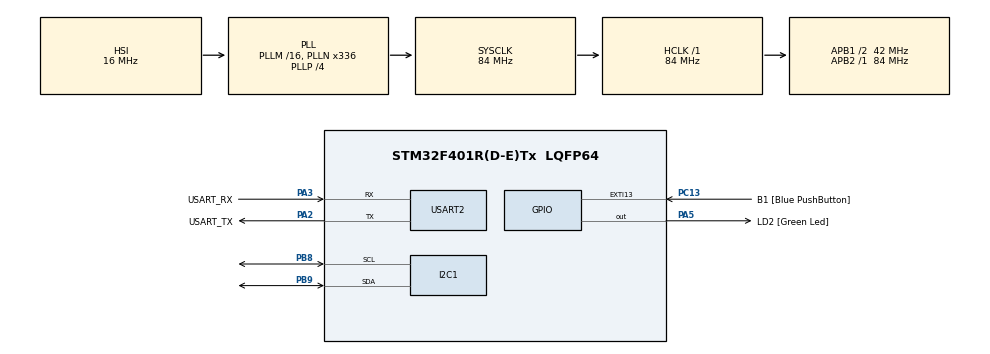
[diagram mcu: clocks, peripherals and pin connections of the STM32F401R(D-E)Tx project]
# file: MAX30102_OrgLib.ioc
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I2C1.I2C_Mode=I2C_Standard
Mcu.Family=STM32F4
Mcu.Name=STM32F401R(D-E)Tx
Mcu.Package=LQFP64
NVIC.PriorityGroup=NVIC_PRIORITYGROUP_0
PA13.GPIO_Label=TMS
PA13.Mode=Serial_Wire
PA13.Signal=SYS_JTMS-SWDIO
PA14.GPIO_Label=TCK
PA14.Mode=Serial_Wire
PA14.Signal=SYS_JTCK-SWCLK
PA2.GPIO_Label=USART_TX
PA2.GPIO_Mode=GPIO_MODE_AF_PP
PA2.GPIO_PuPd=GPIO_NOPULL
PA2.GPIO_Speed=GPIO_SPEED_FREQ_LOW
PA2.Mode=Asynchronous
PA2.Signal=USART2_TX
PA3.GPIO_Label=USART_RX
PA3.GPIO_Mode=GPIO_MODE_AF_PP
PA3.GPIO_PuPd=GPIO_NOPULL
PA3.GPIO_Speed=GPIO_SPEED_FREQ_LOW
PA3.Mode=Asynchronous
PA3.Signal=USART2_RX
PA5.GPIO_Label=LD2 [Green Led]
PA5.GPIO_Mode=GPIO_MODE_OUTPUT_PP
PA5.GPIO_PuPd=GPIO_NOPULL
PA5.GPIO_Speed=GPIO_SPEED_FREQ_LOW
PA5.Signal=GPIO_Output
PB3.GPIO_Label=SWO
PB3.Signal=SYS_JTDO-SWO
PB8.GPIO_Pu=GPIO_PULLUP
PB8.Mode=I2C
PB8.Signal=I2C1_SCL
PB9.GPIO_Pu=GPIO_PULLUP
PB9.Mode=I2C
PB9.Signal=I2C1_SDA
PC13-ANTI_TAMP.GPIO_Label=B1 [Blue PushButton]
PC13-ANTI_TAMP.GPIO_ModeDefaultEXTI=GPIO_MODE_IT_FALLING
PC13-ANTI_TAMP.GPIO_PuPd=GPIO_NOPULL
PC13-ANTI_TAMP.Signal=GPXTI13
PC14-OSC32_IN.Mode=LSE-External-Oscillator
PC14-OSC32_IN.Signal=RCC_OSC32_IN
PC15-OSC32_OUT.Mode=LSE-External-Oscillator
PC15-OSC32_OUT.Signal=RCC_OSC32_OUT
PH0\ -\ OSC_IN.Mode=HSE-External-Clock-Source
PH0\ -\ OSC_IN.Signal=RCC_OSC_IN
PH1\ -\ OSC_OUT.Mode=HSE-External-Clock-Source
PH1\ -\ OSC_OUT.Signal=RCC_OSC_OUT
ProjectManager.HeapSize=0x200
ProjectManager.StackSize=0x400
ProjectManager.TargetToolchain=STM32CubeIDE
RCC.48MHZClocksFreq_Value=48000000
RCC.AHBFreq_Value=84000000
RCC.APB1CLKDivider=RCC_HCLK_DIV2
RCC.APB1Freq_Value=42000000
RCC.APB1TimFreq_Value=84000000
RCC.APB2Freq_Value=84000000
RCC.APB2TimFreq_Value=84000000
RCC.CortexFreq_Value=84000000
RCC.HCLKFreq_Value=84000000
RCC.HSE_VALUE=8000000
RCC.HSI_VALUE=16000000
RCC.PLLN=336
RCC.PLLP=RCC_PLLP_DIV4
RCC.PLLQ=7
RCC.SYSCLKFreq_VALUE=84000000
RCC.SYSCLKSource=RCC_SYSCLKSOURCE_PLLCLK
RCC.VCOOutputFreq_Value=336000000
USART2.VirtualMode=VM_ASYNC
board=NUCLEO-F401RE

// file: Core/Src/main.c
/* USER CODE BEGIN Header */
/**
 ******************************************************************************
 * @file           : main.c
 * @brief          : Main program body
 ******************************************************************************
 * @attention
 *
 * Copyright (c) 2023 STMicroelectronics.
 * All rights reserved.
 *
 * This software is licensed under terms that can be found in the LICENSE file
 * in the root directory of this software component.
 * If no LICENSE file comes with this software, it is provided AS-IS.
 *
 ******************************************************************************
 */
/* USER CODE END Header */
#include "main.h"

/* USER CODE BEGIN Includes */
#include "BML_DEF.h"
#include "uart.h"
#include "MAX30102_n.h"
/* USER CODE END Includes */

/* USER CODE BEGIN PD */
#define DEBUG	0
/* USER CODE END PD */

I2C_HandleTypeDef hi2c1;

UART_HandleTypeDef huart2;

/* USER CODE BEGIN PV */

HAL_StatusTypeDef ret;

max30102_t max30102;
/* USER CODE END PV */

void SystemClock_Config(void);
static void MX_GPIO_Init(void);
static void MX_USART2_UART_Init(void);
static void MX_I2C1_Init(void);
/* USER CODE BEGIN PFP */
void max30102_startSeq();
/* USER CODE END PFP */

int main(void)
{

  /* MCU Configuration--------------------------------------------------------*/

  /* Reset of all peripherals, Initializes the Flash interface and the Systick. */
  HAL_Init();

  /* Configure the system clock */
  SystemClock_Config();

  /* Initialize all configured peripherals */
  MX_GPIO_Init();
  MX_USART2_UART_Init();
  MX_I2C1_Init();
  /* USER CODE BEGIN 2 */
	uart_print_config(9600);
	print("Working\n\r");

	max30102_init(&max30102, &hi2c1);
	max30102_reset(&max30102);
	max30102_clear_fifo(&max30102);
	max30102_set_fifo_config(&max30102, max30102_smp_ave_8, 1, 7);

	// Sensor settings
	max30102_set_led_pulse_width(&max30102, max30102_pw_16_bit);
	max30102_set_adc_resolution(&max30102, max30102_adc_8192);
	max30102_set_sampling_rate(&max30102, max30102_sr_800);
	max30102_set_led_current_1(&max30102, 5);
	max30102_set_led_current_2(&max30102, 5);

	// Enter SpO2 mode
	max30102_set_mode(&max30102, max30102_spo2);
//	max30102_set_a_full(&max30102, 1);

	// Initiate 1 temperature measurement
	max30102_set_die_temp_en(&max30102, 1);
	max30102_set_die_temp_rdy(&max30102, 1);

	uint8_t en_reg[2] = { 0 };
	max30102_read(&max30102, 0x00, en_reg, 1);

  /* USER CODE END 2 */

  /* Infinite loop */
  /* USER CODE BEGIN WHILE */
	while (1) {

		max30102_update(&max30102);

    /* USER CODE END WHILE */

	}
}

void SystemClock_Config(void)
{
  RCC_OscInitTypeDef RCC_OscInitStruct = {0};
  RCC_ClkInitTypeDef RCC_ClkInitStruct = {0};

  /** Configure the main internal regulator output voltage
  */
  __HAL_RCC_PWR_CLK_ENABLE();
  __HAL_PWR_VOLTAGESCALING_CONFIG(PWR_REGULATOR_VOLTAGE_SCALE2);

  /** Initializes the RCC Oscillators according to the specified parameters
  * in the RCC_OscInitTypeDef structure.
  */
  RCC_OscInitStruct.OscillatorType = RCC_OSCILLATORTYPE_HSI;
  RCC_OscInitStruct.HSIState = RCC_HSI_ON;
  RCC_OscInitStruct.HSICalibrationValue = RCC_HSICALIBRATION_DEFAULT;
  RCC_OscInitStruct.PLL.PLLState = RCC_PLL_ON;
  RCC_OscInitStruct.PLL.PLLSource = RCC_PLLSOURCE_HSI;
  RCC_OscInitStruct.PLL.PLLM = 16;
  RCC_OscInitStruct.PLL.PLLN = 336;
  RCC_OscInitStruct.PLL.PLLP = RCC_PLLP_DIV4;
  RCC_OscInitStruct.PLL.PLLQ = 7;
  if (HAL_RCC_OscConfig(&RCC_OscInitStruct) != HAL_OK)
  {
    Error_Handler();
  }

  /** Initializes the CPU, AHB and APB buses clocks
  */
  RCC_ClkInitStruct.ClockType = RCC_CLOCKTYPE_HCLK|RCC_CLOCKTYPE_SYSCLK
                              |RCC_CLOCKTYPE_PCLK1|RCC_CLOCKTYPE_PCLK2;
  RCC_ClkInitStruct.SYSCLKSource = RCC_SYSCLKSOURCE_PLLCLK;
  RCC_ClkInitStruct.AHBCLKDivider = RCC_SYSCLK_DIV1;
  RCC_ClkInitStruct.APB1CLKDivider = RCC_HCLK_DIV2;
  RCC_ClkInitStruct.APB2CLKDivider = RCC_HCLK_DIV1;

  if (HAL_RCC_ClockConfig(&RCC_ClkInitStruct, FLASH_LATENCY_2) != HAL_OK)
  {
    Error_Handler();
  }
}

static void MX_I2C1_Init(void)
{

  hi2c1.Instance = I2C1;
  hi2c1.Init.ClockSpeed = 100000;
  hi2c1.Init.DutyCycle = I2C_DUTYCYCLE_2;
  hi2c1.Init.OwnAddress1 = 0;
  hi2c1.Init.AddressingMode = I2C_ADDRESSINGMODE_7BIT;
  hi2c1.Init.DualAddressMode = I2C_DUALADDRESS_DISABLE;
  hi2c1.Init.OwnAddress2 = 0;
  hi2c1.Init.GeneralCallMode = I2C_GENERALCALL_DISABLE;
  hi2c1.Init.NoStretchMode = I2C_NOSTRETCH_DISABLE;
  if (HAL_I2C_Init(&hi2c1) != HAL_OK)
  {
    Error_Handler();
  }

}

static void MX_USART2_UART_Init(void)
{

  huart2.Instance = USART2;
  huart2.Init.BaudRate = 115200;
  huart2.Init.WordLength = UART_WORDLENGTH_8B;
  huart2.Init.StopBits = UART_STOPBITS_1;
  huart2.Init.Parity = UART_PARITY_NONE;
  huart2.Init.Mode = UART_MODE_TX_RX;
  huart2.Init.HwFlowCtl = UART_HWCONTROL_NONE;
  huart2.Init.OverSampling = UART_OVERSAMPLING_16;
  if (HAL_UART_Init(&huart2) != HAL_OK)
  {
    Error_Handler();
  }

}

static void MX_GPIO_Init(void)
{
  GPIO_InitTypeDef GPIO_InitStruct = {0};

  /* GPIO Ports Clock Enable */
  __HAL_RCC_GPIOC_CLK_ENABLE();
  __HAL_RCC_GPIOH_CLK_ENABLE();
  __HAL_RCC_GPIOA_CLK_ENABLE();
  __HAL_RCC_GPIOB_CLK_ENABLE();

  /*Configure GPIO pin Output Level */
  HAL_GPIO_WritePin(LD2_GPIO_Port, LD2_Pin, GPIO_PIN_RESET);

  /*Configure GPIO pin : B1_Pin */
  GPIO_InitStruct.Pin = B1_Pin;
  GPIO_InitStruct.Mode = GPIO_MODE_IT_FALLING;
  GPIO_InitStruct.Pull = GPIO_NOPULL;
  HAL_GPIO_Init(B1_GPIO_Port, &GPIO_InitStruct);

  /*Configure GPIO pin : LD2_Pin */
  GPIO_InitStruct.Pin = LD2_Pin;
  GPIO_InitStruct.Mode = GPIO_MODE_OUTPUT_PP;
  GPIO_InitStruct.Pull = GPIO_NOPULL;
  GPIO_InitStruct.Speed = GPIO_SPEED_FREQ_LOW;
  HAL_GPIO_Init(LD2_GPIO_Port, &GPIO_InitStruct);

}

/* USER CODE BEGIN 4 */
//void max30102_startSeq() {
//
//	uint8_t max30102Ret = true;
//
//	if (max30102_init(&max30102, &hi2c1) != true) {
//		print("Error Init: Max30102\n\r");
//	} else {
//		print("Init Successful: Max30102\n\r");
//	}
//	max30102Ret = max30102_reset(&max30102);
//	Delay(1);
//#if	DEBUG
//	if (max30102Ret) {
//		print("Success: max30102_reset\n\r");
//	} else {
//		print("Error: max30102_reset\n\r");
//	}
//#endif
//	max30102Ret = max30102_clear_fifo(&max30102);
//	Delay(1);
//#if	DEBUG
//	if (max30102Ret) {
//		print("Success: max30102_clear_fifo\n\r");
//	} else {
//		print("Error: max30102_clear_fifo\n\r");
//	}
//#endif
//	max30102Ret = max30102_set_fifo_config(&max30102, max30102_smp_ave_16, 1,
//			7);
//	Delay(1);
//#if	DEBUG
//	if (max30102Ret) {
//		print("Success: max30102_set_fifo_config\n\r");
//	} else {
//		print("Error: max30102_set_fifo_config\n\r");
//	}
//#endif
//
//	uint8_t tempInt, tempFrac;
//	max30102Ret = max30102_read_temp(&max30102, &tempInt, &tempFrac);
//	Delay(1);
//#if	DEBUG
//	if (max30102Ret) {
//		print("Success: max30102_read_temp\n\r");
//	} else {
//		print("Error: max30102_read_temp\n\r");
//	}
//#endif
//	print("Temp: %d.%d\n\r", tempInt, tempFrac);
//
//	// Sensor settings
//	max30102Ret = max30102_set_led_pulse_width(&max30102, max30102_pw_16_bit);
//	Delay(1);
//#if	DEBUG
//	if (max30102Ret) {
//		print("Success: max30102_set_led_pulse_width\n\r");
//	} else {
//		print("Error: max30102_set_led_pulse_width\n\r");
//	}
//#endif
//	max30102Ret = max30102_set_adc_resolution(&max30102, max30102_adc_8192);
//	Delay(1);
//#if	DEBUG
//	if (max30102Ret) {
//		print("Success: max30102_set_adc_resolution\n\r");
//	} else {
//		print("Error: max30102_set_adc_resolution\n\r");
//	}
//#endif
//	max30102Ret = max30102_set_sampling_rate(&max30102, max30102_sr_800);
//	Delay(1);
//#if	DEBUG
//	if (max30102Ret) {
//		print("Success: max30102_set_sampling_rate\n\r");
//	} else {
//		print("Error: max30102_set_sampling_rate\n\r");
//	}
//#endif
//	max30102Ret = max30102_set_led_current_1(&max30102, 0x20);
//	Delay(1);
//#if	DEBUG
//	if (max30102Ret) {
//		print("Success: max30102_set_led_current_1\n\r");
//	} else {
//		print("Error: max30102_set_led_current_1\n\r");
//	}
//#endif
//	max30102Ret = max30102_set_led_current_2(&max30102, 0x20);
//	Delay(1);
//#if	DEBUG
//	if (max30102Ret) {
//		print("Success: max30102_set_led_current_2\n\r");
//	} else {
//		print("Error: max30102_set_led_current_2\n\r");
//	}
//#endif
//
//	// Enter SpO2 mode
//	max30102Ret = max30102_set_mode(&max30102, max30102_spo2);
//	Delay(1);
//#if	DEBUG
//	if (max30102Ret) {
//		print("Success: max30102_set_mode\n\r");
//	} else {
//		print("Error: max30102_set_mode\n\r");
//	}
//#endif
//	max30102Ret = max30102_set_a_full(&max30102, 1);
//	Delay(1);
//#if	DEBUG
//	if (max30102Ret) {
//		print("Success: max30102_set_a_full\n\r");
//	} else {
//		print("Error: max30102_set_a_full\n\r");
//	}
//#endif
//
//	// Initiate 1 temperature measurement
//	max30102Ret = max30102_set_die_temp_en(&max30102, 1);
//	Delay(1);
//#if	DEBUG
//	if (max30102Ret) {
//		print("Success: max30102_set_die_temp_en\n\r");
//	} else {
//		print("Error: max30102_set_die_temp_en\n\r");
//	}
//#endif
//	max30102Ret = max30102_set_die_temp_rdy(&max30102, 1);
//	Delay(1);
//#if	DEBUG
//	if (max30102Ret) {
//		print("Success: max30102_set_die_temp_rdy\n\r");
//	} else {
//		print("Error: max30102_set_die_temp_rdy\n\r");
//	}
//#endif
//
//	uint8_t en_reg[2] = { 0 };
//	max30102Ret = max30102_readByte(&max30102, 0x00, en_reg);
//	Delay(1);
//#if	DEBUG
//	if (max30102Ret) {
//		print("Success: max30102_readByte\n\r");
//	} else {
//		print("Error: max30102_readByte\n\r");
//	}
//#endif
//}
/* USER CODE END 4 */

void Error_Handler(void)
{
	__disable_irq();
	while (1) {
	}
}
